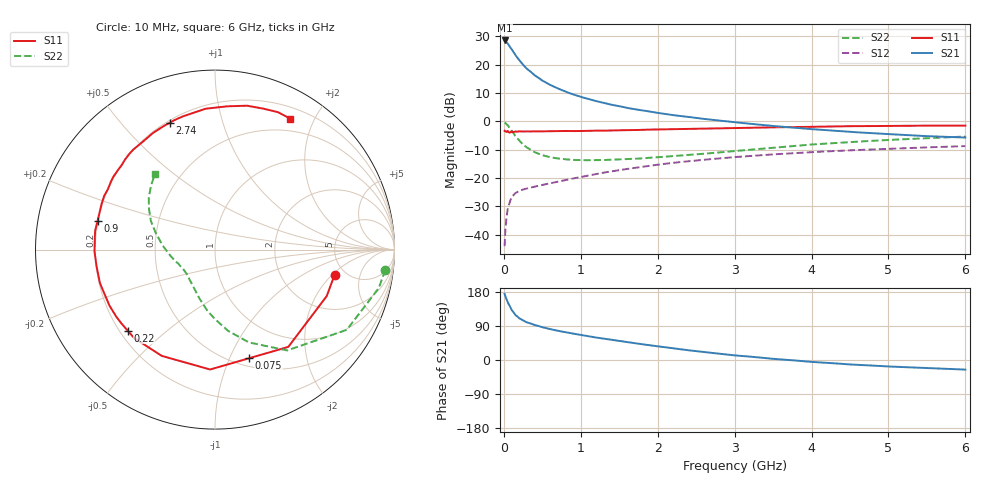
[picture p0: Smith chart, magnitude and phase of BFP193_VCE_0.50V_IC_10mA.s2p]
! Infineon Technologies  Discrete & RF Semiconductors
! BFP193
! VCE = 0.50V,  IC =  10 mA
! Common Emitter S-Parameters:  Jan 2016
# GHz  S  MA  R  50
!  f  S11  S21  S12  S22
! GHz  MAG  ANG  MAG  ANG  MAG  ANG  MAG  ANG
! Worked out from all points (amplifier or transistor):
!   210 points, 10 MHz to 6 GHz, reference 50 ohm
!   highest |S21| = 28.5 dB at 10 MHz (marker M1)
!   |S21| within 3 dB of that: start of sweep to 100.1 MHz
!   unconditionally stable (mu >= 1): 868 MHz to end of sweep
!   at 185 MHz: K = 0.34, MSG = 23.4 dB, |S12| = -24.8 dB
!   at 1.52 GHz: K = 1.13, MAG = 9.0 dB, |S12| = -17.1 dB
!   at 6 GHz: K = 1.01, MAG = 0.8 dB, |S12| = -8.7 dB
!   S11 on the Smith chart (normalised r, x): 10 MHz: 4.08, -2.15; 75 MHz: 0.59, -1.19; 220 MHz: 0.23, -0.37; 900 MHz: 0.20, +0.12; 2.74 GHz: 0.21, +0.69; 6 GHz: 0.34, +1.68
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0.01  0.6809 -12.0  26.66 174.6  0.0063 86.0  0.9551 -6.8
0.02  0.6742 -22.6  25.82 167.6  0.0123 81.3  0.9372 -13.2
0.05  0.6787 -53.0  23.61 152.0  0.0283 66.6  0.8597 -31.3
0.075  0.6344 -72.5  20.93 143.2  0.0368 56.8  0.7599 -41.6
0.1  0.6686 -92.3  18.88 132.1  0.0459 50.7  0.6911 -54.4
0.15  0.6623 -116.6  14.75 118.8  0.0543 42.3  0.5514 -69.8
0.2  0.6677 -132.4  12 110.2  0.0593 38.2  0.4588 -80.8
0.22  0.6636 -137.1  11.14 107.9  0.0607 37.5  0.4296 -84.0
0.26  0.665 -145.8  9.593 103.0  0.0634 36.4  0.3798 -91.0
0.3  0.6658 -152.0  8.438 99.2  0.0657 35.8  0.3458 -96.8
0.4  0.6677 -163.8  6.499 92.3  0.0705 35.9  0.286 -107.6
0.5  0.6665 -171.9  5.238 86.6  0.0756 36.7  0.2528 -116.0
0.7  0.6722 175.6  3.808 77.0  0.0862 39.7  0.2219 -128.8
0.9  0.6738 166.3  2.981 69.6  0.0983 41.7  0.2085 -137.3
1.02  0.6763 161.3  2.653 65.3  0.1058 42.3  0.207 -141.3
1.4  0.6914 147.6  1.961 53.4  0.1311 42.9  0.2106 -152.1
2.02  0.7197 128.7  1.396 35.6  0.1733 39.9  0.2338 -165.8
2.74  0.7511 109.5  1.054 18.0  0.2186 33.5  0.2792 178.8
3.1  0.7659 101.8  0.935 10.6  0.2394 29.7  0.3073 171.5
4.1  0.8041 83.5  0.713 -6.2  0.291 19.0  0.3982 154.4
5.1  0.8318 70.0  0.586 -17.9  0.332 8.5  0.4769 140.1
6  0.8415 60.1  0.518 -25.4  0.3659 -0.9  0.539 128.3
